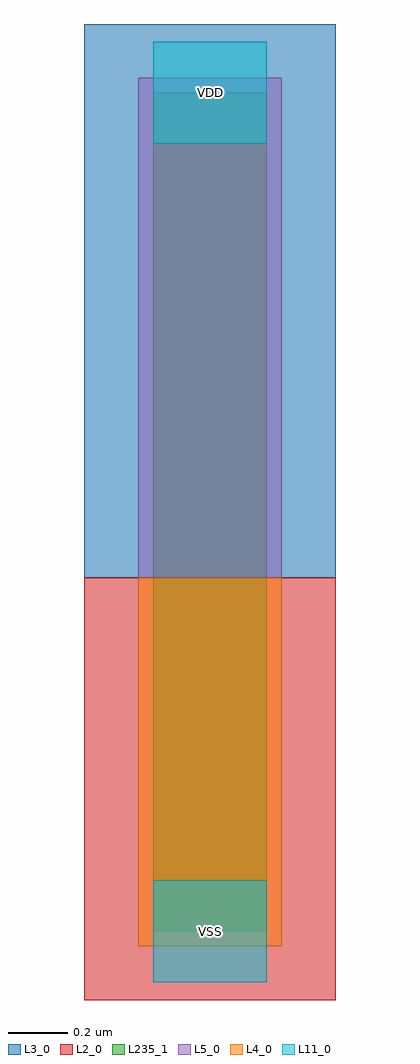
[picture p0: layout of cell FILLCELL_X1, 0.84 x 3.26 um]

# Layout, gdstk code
import gdstk
lib = gdstk.Library(unit=1e-6, precision=1e-09)
def R(c, l, rs):  # rectangles x0, y0, x1, y1
    for r in rs: c.add(gdstk.rectangle(r[:2], r[2:], *l))
L2_0 = (2, 0)
L3_0 = (3, 0)
L4_0 = (4, 0)
L5_0 = (5, 0)
L11_0 = (11, 0)
L235_1 = (235, 1)

fillcell_x1 = lib.new_cell('FILLCELL_X1')
R(fillcell_x1, L2_0, [(-0.23,-0.23,0.61,1.18)])
R(fillcell_x1, L3_0, [(-0.23,1.18,0.61,3.03)])
R(fillcell_x1, L4_0, [(-0.05,-0.05,0.43,1.18)])
R(fillcell_x1, L5_0, [(-0.05,1.18,0.43,2.85)])
R(fillcell_x1, L11_0, [(0,-0.17,0.38,0.17), (0,-0.17,0.38,0.17), (0,2.63,0.38,2.97), (0,2.63,0.38,2.97)])
R(fillcell_x1, L235_1, [(0,0,0.38,2.8)])
fillcell_x1.add(gdstk.Label('VSS', (0.19,0), layer=11, texttype=0))
fillcell_x1.add(gdstk.Label('VDD', (0.19,2.8), layer=11, texttype=0))

lib.write_gds('FILLCELL_X1.gds')
